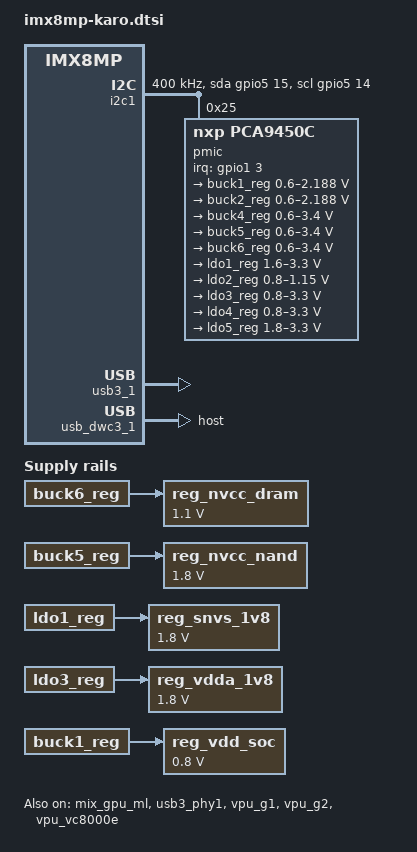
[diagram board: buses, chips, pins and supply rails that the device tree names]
// SPDX-License-Identifier: (GPL-2.0 OR MIT)
/*
 * Copyright (C) 2020 Lothar Waßmann <LW@KARO-electronics.de>
 *
 */

#include "imx8mp.dtsi"

/ {
	aliases {
		ethernet0 = &eqos;
		ethernet1 = &fec;
	};

	reg_nvcc_dram: regulator-nvcc-dram {
		compatible = "regulator-fixed";
		regulator-name = "nvcc-dram";
		regulator-min-microvolt = <1100000>;
		regulator-max-microvolt = <1100000>;
		vin-supply = <&buck6_reg>;
		regulator-boot-on;
		regulator-always-on;
	};

	reg_nvcc_nand: regulator-nvcc-nand {
		compatible = "regulator-fixed";
		regulator-name = "nvcc-nand";
		regulator-min-microvolt = <1800000>;
		regulator-max-microvolt = <1800000>;
		vin-supply = <&buck5_reg>;
		regulator-boot-on;
	};

	reg_snvs_1v8: regulator-snvs-1v8 {
		compatible = "regulator-fixed";
		regulator-name = "snvs-1v8";
		regulator-min-microvolt = <1800000>;
		regulator-max-microvolt = <1800000>;
		vin-supply = <&ldo1_reg>;
		regulator-always-on;
	};

	reg_vdda_1v8: regulator-vdda-1v8 {
		compatible = "regulator-fixed";
		regulator-name = "vdda-1v8";
		regulator-min-microvolt = <1800000>;
		regulator-max-microvolt = <1800000>;
		vin-supply = <&ldo3_reg>;
		regulator-always-on;
	};

	reg_vdd_soc: regulator-vdd-soc {
		compatible = "regulator-fixed";
		regulator-name = "vdd-soc";
		regulator-min-microvolt = <800000>;
		regulator-max-microvolt = <800000>;
		vin-supply = <&buck1_reg>;
		regulator-always-on;
	};
};

&A53_0 {
	cpu-supply = <&buck2_reg>;
};

&i2c1 {
	pinctrl-names = "default", "gpio";
	pinctrl-0 = <&pinctrl_i2c1>;
	pinctrl-1 = <&pinctrl_i2c1_gpio>;
	clock-frequency = <400000>;
	scl-gpios = <&gpio5 14 (GPIO_ACTIVE_HIGH | GPIO_OPEN_DRAIN)>;
	sda-gpios = <&gpio5 15 (GPIO_ACTIVE_HIGH | GPIO_OPEN_DRAIN)>;
	status = "okay";

	pmic@25 {
		reg = <0x25>;
		compatible = "nxp,pca9450c";
		pinctrl-names = "default";
		pinctrl-0 = <&pinctrl_pmic>;
		interrupt-parent = <&gpio1>;
		interrupts = <3 IRQ_TYPE_EDGE_FALLING>;
		status = "okay";

		regulators {
			buck1_reg: BUCK1 {
				regulator-name = "BUCK1";
				regulator-min-microvolt = <600000>;
				regulator-max-microvolt = <2187500>;
				regulator-boot-on;
				regulator-always-on;
				regulator-ramp-delay = <3125>;
			};

			buck2_reg: BUCK2 {
				regulator-name = "vdd-core";
				regulator-min-microvolt = <600000>;
				regulator-max-microvolt = <2187500>;
				regulator-boot-on;
				regulator-always-on;
				regulator-ramp-delay = <3125>;
				nxp,dvs-run-voltage = <950000>;
				nxp,dvs-standby-voltage = <850000>;
			};

			buck4_reg: BUCK4 {
				regulator-name = "BUCK4";
				regulator-min-microvolt = <600000>;
				regulator-max-microvolt = <3400000>;
				regulator-boot-on;
				regulator-always-on;
			};

			buck5_reg: BUCK5 {
				regulator-name = "BUCK5";
				regulator-min-microvolt = <600000>;
				regulator-max-microvolt = <3400000>;
				regulator-boot-on;
				regulator-always-on;
			};

			buck6_reg: BUCK6 {
				regulator-name = "BUCK6";
				regulator-min-microvolt = <600000>;
				regulator-max-microvolt = <3400000>;
				regulator-boot-on;
				regulator-always-on;
			};

			ldo1_reg: LDO1 {
				regulator-name = "LDO1";
				regulator-min-microvolt = <1600000>;
				regulator-max-microvolt = <3300000>;
				regulator-boot-on;
				regulator-always-on;
			};

			ldo2_reg: LDO2 {
				regulator-name = "LDO2";
				regulator-min-microvolt = <800000>;
				regulator-max-microvolt = <1150000>;
				regulator-always-on;
			};

			ldo3_reg: LDO3 {
				regulator-name = "LDO3";
				regulator-min-microvolt = <800000>;
				regulator-max-microvolt = <3300000>;
				regulator-boot-on;
				regulator-always-on;
			};

			ldo4_reg: LDO4 {
				regulator-name = "LDO4";
				regulator-min-microvolt = <800000>;
				regulator-max-microvolt = <3300000>;
			};

			ldo5_reg: LDO5 {
				regulator-name = "LDO5";
				regulator-min-microvolt = <1800000>;
				regulator-max-microvolt = <3300000>;
			};
		};
	};
};

&mix_gpu_ml {
	status = "okay";
};

&resmem {
	/* overwrite freescale cma setting since it's not allocatable on qsxp */
	linux,cma {
		size = <0 0x1e000000>;
		/delete-property/ alloc-ranges;
	};

	rpmsg_reserved: rpmsg@55800000 {
		no-map;
		reg = <0 0x55800000 0 0x800000>;
	};
};

&usb3_1 {
	status = "okay";
};

&usb3_phy1 {
	status = "okay";
};

&usb_dwc3_1 {
	dr_mode = "host";
	status = "okay";
};

&vpu_g1 {
	status = "okay";
};

&vpu_g2 {
	status = "okay";
};

&vpu_vc8000e {
	status = "okay";
};
